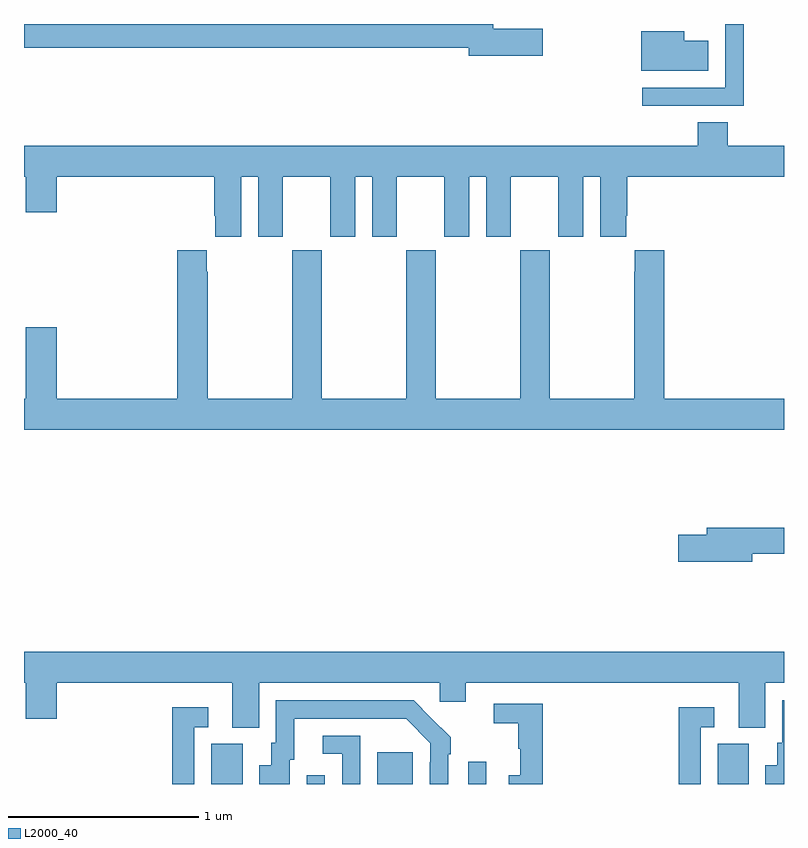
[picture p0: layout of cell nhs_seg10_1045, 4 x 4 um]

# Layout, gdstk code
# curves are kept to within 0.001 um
import gdstk
lib = gdstk.Library(unit=1e-6, precision=1e-09)
def R(c, l, rs):  # rectangles x0, y0, x1, y1
    for r in rs: c.add(gdstk.rectangle(r[:2], r[2:], *l))
def P(c, l, *ps):  # polygons
    for p in ps: c.add(gdstk.Polygon(p, *l))
L2000_40 = (2000, 40)

nhs_seg10_1045 = lib.new_cell('nhs_seg10_1045')
R(nhs_seg10_1045, L2000_40, [(165.986,1250.5,166.15,1250.712), (166.488,1250.5,166.584,1250.545), (166.859,1250.5,167.047,1250.668), (167.337,1250.5,167.433,1250.617), (168.65,1250.5,168.814,1250.712)])
P(nhs_seg10_1045, L2000_40, [(167.731,1254.476),(167.47,1254.476),(167.47,1254.5),(165,1254.5),(165,1254.376),(167.342,1254.376),(167.342,1254.334),(167.731,1254.334)],
  [(168.789,1254.5),(168.69,1254.5),(168.69,1254.165),(168.255,1254.165),(168.255,1254.069),(168.789,1254.069)],
  [(168.601,1254.412),(168.475,1254.412),(168.475,1254.463),(168.248,1254.463),(168.248,1254.254),(168.601,1254.254)],
  [(166.144,1253.696),(166.232,1253.696),(166.232,1253.379),(166.363,1253.379),(166.363,1253.696),(166.613,1253.696),(166.613,1253.379),(166.744,1253.379),(166.744,1253.696),(166.832,1253.696),(166.832,1253.379),(166.963,1253.379),(166.963,1253.696),(167.213,1253.696),(167.213,1253.379),(167.344,1253.379),(167.344,1253.696),(167.432,1253.696),(167.432,1253.379),(167.563,1253.379),(167.563,1253.696),(167.813,1253.696),(167.813,1253.379),(167.944,1253.379),(167.944,1253.696),(168.032,1253.696),(168.032,1253.379),(168.169,1253.379),(168.169,1253.491),(168.176,1253.491),(168.176,1253.696),(169,1253.696),(169,1253.86),(168.705,1253.86),(168.705,1253.984),(168.545,1253.984),(168.545,1253.86),(165,1253.86),(165,1253.696),(165.008,1253.696),(165.008,1253.508),(165.172,1253.508),(165.172,1253.696),(166.001,1253.696),(166.001,1253.491),(166.007,1253.491),(166.007,1253.379),(166.144,1253.379)],
  [(169,1252.528),(168.371,1252.528),(168.371,1253.308),(168.215,1253.308),(168.215,1253.195),(168.211,1253.195),(168.211,1252.528),(167.766,1252.528),(167.766,1253.308),(167.611,1253.308),(167.611,1252.528),(167.166,1252.528),(167.166,1253.308),(167.011,1253.308),(167.011,1252.528),(166.566,1252.528),(166.566,1253.308),(166.411,1253.308),(166.411,1252.528),(165.966,1252.528),(165.966,1253.195),(165.961,1253.195),(165.961,1253.308),(165.806,1253.308),(165.806,1252.528),(165.172,1252.528),(165.172,1252.903),(165.008,1252.903),(165.008,1252.528),(165,1252.528),(165,1252.364),(169,1252.364)],
  [(168.832,1251.712),(169,1251.712),(169,1251.848),(168.593,1251.848),(168.593,1251.812),(168.444,1251.812),(168.444,1251.67),(168.832,1251.67)],
  [(166.237,1251.032),(167.187,1251.032),(167.187,1250.934),(167.326,1250.934),(167.326,1251.032),(168.761,1251.032),(168.761,1250.797),(168.901,1250.797),(168.901,1251.032),(169,1251.032),(169,1251.196),(165,1251.196),(165,1251.032),(165.008,1251.032),(165.008,1250.844),(165.172,1250.844),(165.172,1251.032),(166.097,1251.032),(166.097,1250.797),(166.237,1250.797)],
  [(166.399,1250.628),(166.423,1250.628),(166.423,1250.844),(167.011,1250.844),(167.139,1250.715),(167.139,1250.615),(167.136,1250.615),(167.136,1250.5),(167.232,1250.5),(167.232,1250.657),(167.247,1250.657),(167.247,1250.745),(167.05,1250.94),(166.326,1250.94),(166.326,1250.718),(166.301,1250.718),(166.301,1250.599),(166.238,1250.599),(166.238,1250.5),(166.399,1250.5)],
  [(169,1250.94),(168.99,1250.94),(168.99,1250.718),(168.965,1250.718),(168.965,1250.599),(168.902,1250.599),(168.902,1250.5),(169,1250.5)],
  [(167.729,1250.922),(167.472,1250.922),(167.472,1250.821),(167.601,1250.821),(167.601,1250.685),(167.612,1250.685),(167.612,1250.545),(167.552,1250.545),(167.552,1250.5),(167.729,1250.5)],
  [(165.897,1250.799),(165.97,1250.799),(165.97,1250.905),(165.781,1250.905),(165.781,1250.5),(165.897,1250.5)],
  [(168.561,1250.799),(168.634,1250.799),(168.634,1250.905),(168.445,1250.905),(168.445,1250.5),(168.561,1250.5)],
  [(166.77,1250.754),(166.572,1250.754),(166.572,1250.658),(166.674,1250.658),(166.674,1250.5),(166.77,1250.5)])

lib.write_gds('nhs_seg10_1045.gds')
